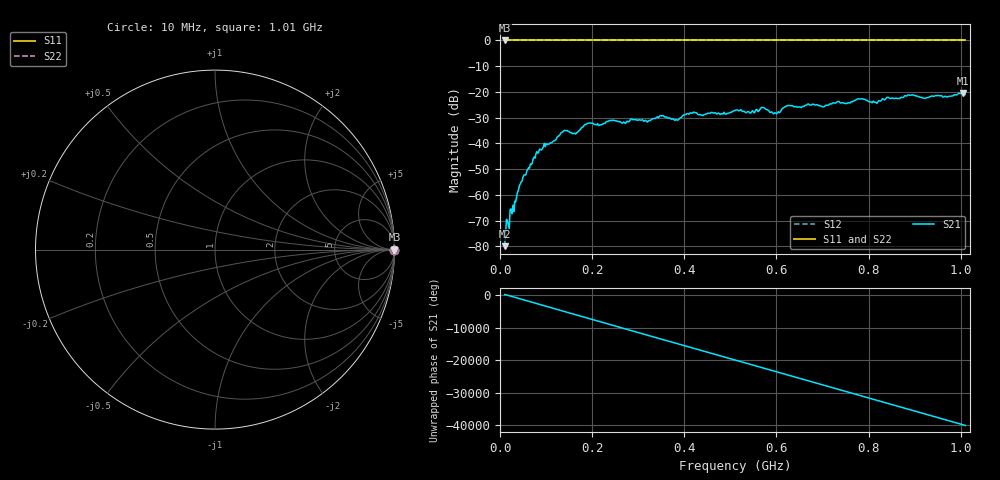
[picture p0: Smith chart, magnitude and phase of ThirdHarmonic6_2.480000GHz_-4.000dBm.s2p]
! 8/17/2025 4:37:11 AM
! C:\ANRITSUVNA\TEMP\TEMP.S2P
! CHANNEL.1
! TR.MEASUREMENT
! RAW.DATA
! RF.CORRECTION.OFF
! AVERAGING.OFF
! IF.BANDWIDTH: 5KHZ
! SWEEPTYPE:  FREQ.SWEEP(Linear)
! Reference Plane Port Info
! PORT:  PORT1  PORT2
! DISTANCE:  0  m  0  m
! TIME:  0  s  0  s
! PHASE.OFFSET:  0  deg.  0  deg.
! LOSS:  0  dB  0  dB
! REF.LOSS:  0  dB  0  dB
! REF.FREQ:  0  Hz  0  Hz
! Power Info
! POWER:  -20  dBm  -20  dBm
! EFF.POWER:  -20  dBm  -20  dBm
! SOURCE.ATTEN:  0  dB  0  dB
! TEST.ATTEN:  0  dB  0  dB
# GHZ S RI R 50.0
! FREQ.GHZ  S11RE  S11IM  S21RE  S21IM  S12RE  S12IM  S22RE  S22IM
!; PortSelection: Port_12
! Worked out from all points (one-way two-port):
!   501 points, 10 MHz to 1.01 GHz, reference 50 ohm
!   highest |S21| = -20.38 dB at 1.004 GHz (marker M1); lowest = -80.0 dB at 10 MHz (marker M2)
!   lowest |S11| = 0.0 dB at 10 MHz (marker M3)
!   |S11| at or under -10 dB: nowhere
!   |S22| runs from 0.0 to 0.0 dB; largest |S21 - S12| = 1.1
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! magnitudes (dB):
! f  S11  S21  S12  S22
! 10 MHz  0.0  -80.0  0.0  0.0
! 18 MHz  0.0  -71.6  0.0  0.0
! 42 MHz  0.0  -56.5  0.0  0.0
! 76 MHz  0.0  -45.8  0.0  0.0
! 136 MHz  0.0  -35.6  0.0  0.0
! 162 MHz  0.0  -36.1  0.0  0.0
! 178 MHz  0.0  -33.8  0.0  0.0
! 194 MHz  0.0  -32.1  0.0  0.0
! 322 MHz  0.0  -31.4  0.0  0.0
! 344 MHz  0.0  -30.0  0.0  0.0
! 382 MHz  0.0  -30.8  0.0  0.0
! 418 MHz  0.0  -28.2  0.0  0.0
! 510 MHz  0.0  -27.2  0.0  0.0
! 570 MHz  0.0  -26.1  0.0  0.0
! 598 MHz  0.0  -28.2  0.0  0.0
! 624 MHz  0.0  -25.3  0.0  0.0
! 678 MHz  0.0  -24.7  0.0  0.0
! 780 MHz  0.0  -22.7  0.0  0.0
! 816 MHz  0.0  -24.1  0.0  0.0
! 844 MHz  0.0  -22.3  0.0  0.0
! 1.004 GHz  0.0  -20.4  0.0  0.0
! 1.01 GHz  0.0  -21.0  0.0  0.0
